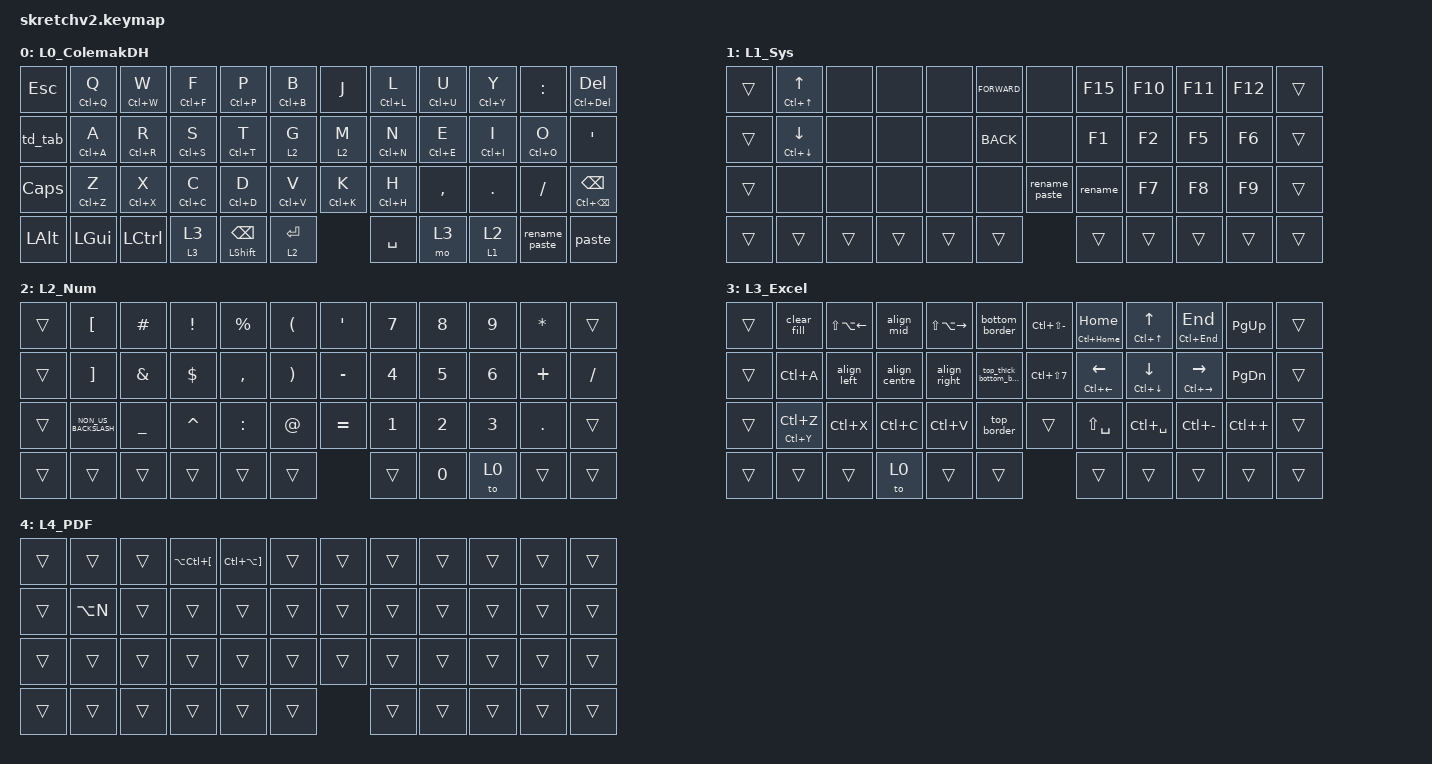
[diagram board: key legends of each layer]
#include <behaviors/mouse_key_press.dtsi>
#include <behaviors.dtsi>
#include <dt-bindings/zmk/bt.h>
#include <dt-bindings/zmk/keys.h>

/ {
    combos {
        compatible = "zmk,combos";

        BT_Clr {
            bindings = <&bt BT_CLR>;
            key-positions = <11 37>;
        };

        BT_0 {
            bindings = <&bt BT_SEL 0>;
            key-positions = <0 37>;
        };

        BT_1 {
            bindings = <&bt BT_SEL 1>;
            key-positions = <1 37>;
        };

        BT_2 {
            bindings = <&bt BT_SEL 2>;
            key-positions = <2 37>;
        };

        BT_3 {
            bindings = <&bt BT_SEL 3>;
            key-positions = <3 37>;
        };

        F_2 {
            bindings = <&kp F2>;
            key-positions = <2 40>;
        };

        Pivot_Refresh {
            bindings = <&kp LA(F5)>;
            key-positions = <40 3>;
        };

        F_4 {
            bindings = <&kp F4>;
            key-positions = <40 4>;
        };

        F_5 {
            bindings = <&kp F5>;
            key-positions = <42 7>;
        };

        Filter {
            bindings = <&kp LS(LC(L))>;
            key-positions = <42 8>;
        };

        Time {
            bindings = <&ht_kp LC(SEMI) LC(LS(SEMI))>;
            key-positions = <42 9>;
        };

        Downloads {
            bindings = <&kp LC(LA(D))>;
            key-positions = <1 39>;
            layers = <0 1 2>;
        };

        Pivot {
            bindings = <&pivot>;
            key-positions = <1 40>;
            layers = <3>;
        };

        Blanks {
            bindings = <&blanks>;
            key-positions = <5 40>;
            layers = <3>;
        };

        Paste {
            bindings = <&paste_values>;
            key-positions = <28 25>;
            layers = <3>;
        };

        Top {
            bindings = <&align_top>;
            key-positions = <17 25>;
            layers = <3>;
        };

        Bottom {
            bindings = <&align_bottom>;
            key-positions = <29 25>;
        };

        Format_Paint {
            bindings = <&none>;
            key-positions = <13 16>;
            layers = <3>;
        };
    };

    behaviors {
        ht_kp: ht_kp {
            compatible = "zmk,behavior-hold-tap";
            label = "ht_KP";
            bindings = <&kp>, <&kp>;

            #binding-cells = <2>;
            flavor = "tap-preferred";
            tapping-term-ms = <200>;
        };

        ht_l: ht_l {
            compatible = "zmk,behavior-hold-tap";
            label = "ht_L";
            bindings = <&mo>, <&to>;

            #binding-cells = <2>;
            tapping-term-ms = <250>;
        };

        ht_mo_kp: ht_mo_kp {
            compatible = "zmk,behavior-hold-tap";
            label = "HT_MO_KP";
            bindings = <&mo>, <&kp>;

            #binding-cells = <2>;
            flavor = "tap-preferred";
            tapping-term-ms = <250>;
        };

        td_win_ctrl: td_win_ctrl {
            compatible = "zmk,behavior-tap-dance";
            label = "TD_WIN_CTRL";
            #binding-cells = <0>;
            bindings = <&ht_kp LCTRL LEFT_GUI>, <&kp LC(LEFT_GUI)>;
        };

        td_tab: td_tab {
            compatible = "zmk,behavior-tap-dance";
            label = "TD_TAB";
            #binding-cells = <0>;
            bindings = <&kp TAB>, <&kp LC(TAB)>;
        };
    };

    macros {
        paste_values: paste_values {
            compatible = "zmk,behavior-macro";
            label = "PASTE_VALUES";
            #binding-cells = <0>;
            bindings = <&kp LC(LA(V)) &kp V &kp ENTER>;
        };

        align_left: align_left {
            compatible = "zmk,behavior-macro";
            label = "ALIGN_LEFT";
            #binding-cells = <0>;
            bindings = <&kp LEFT_ALT &kp H &kp A &kp L>;
        };

        align_centre: align_centre {
            compatible = "zmk,behavior-macro";
            label = "ALIGN_CENTRE";
            #binding-cells = <0>;
            bindings = <&kp LEFT_ALT &kp H &kp A &kp C>;
        };

        align_right: align_right {
            compatible = "zmk,behavior-macro";
            label = "ALIGN_RIGHT";
            #binding-cells = <0>;
            bindings = <&kp LEFT_ALT &kp H &kp A &kp R>;
        };

        align_top: align_top {
            compatible = "zmk,behavior-macro";
            label = "ALIGN_TOP";
            #binding-cells = <0>;
            bindings = <&kp LEFT_ALT &kp H &kp A &kp T>;
        };

        align_mid: align_mid {
            compatible = "zmk,behavior-macro";
            label = "ALIGN_MID";
            #binding-cells = <0>;
            bindings = <&kp LEFT_ALT &kp H &kp A &kp M>;
        };

        align_bottom: align_bottom {
            compatible = "zmk,behavior-macro";
            label = "ALIGN_BOTTOM";
            #binding-cells = <0>;
            bindings = <&kp LEFT_ALT &kp H &kp A &kp B>;
        };

        top_border: top_border {
            compatible = "zmk,behavior-macro";
            label = "TOP_BORDER";
            #binding-cells = <0>;
            bindings = <&kp LEFT_ALT &kp H &kp B &kp P>;
        };

        bottom_border: bottom_border {
            compatible = "zmk,behavior-macro";
            label = "BOTTOM_BORDER";
            #binding-cells = <0>;
            bindings = <&kp LEFT_ALT &kp H &kp B &kp O>;
        };

        top_thick_bottom_border: top_thick_bottom_border {
            compatible = "zmk,behavior-macro";
            label = "TOP_THICK_BOTTOM_BORDER";
            #binding-cells = <0>;
            bindings = <&kp LEFT_ALT &kp H &kp B &kp C>;
        };

        pivot: pivot {
            compatible = "zmk,behavior-macro";
            label = "PIVOT";
            #binding-cells = <0>;
            bindings = <&kp LEFT_ALT &kp N &kp V>;
        };

        blanks: blanks {
            compatible = "zmk,behavior-macro";
            label = "BLANKS";
            #binding-cells = <0>;
            bindings = <&kp F5 &kp LEFT_ALT &kp S &kp K &kp ENTER>;
        };

        clear_fill: clear_fill {
            compatible = "zmk,behavior-macro";
            label = "CLEAR_FILL";
            #binding-cells = <0>;
            bindings = <&kp LEFT_ALT &kp H &kp H &kp N>;
        };

        rename: rename {
            compatible = "zmk,behavior-macro";
            #binding-cells = <0>;
            bindings = <&kp ENTER &kp LC(C) &kp ENTER &kp RIGHT &kp LC(A) &kp F15 &kp LA(LC(C)) &none &kp LC(V) &kp ENTER>;
            label = "RENAME";
        };

        rename_paste: rename_paste {
            compatible = "zmk,behavior-macro";
            #binding-cells = <0>;
            bindings = <&kp F15 &kp LA(LC(C))>;
            label = "RENAME_PASTE";
        };

        paste: paste {
            compatible = "zmk,behavior-macro";
            #binding-cells = <0>;
            bindings = <&kp LC(V) &kp ENTER &kp LEFT &kp DOWN &kp ENTER &kp LC(C) &kp ENTER &kp RIGHT &kp LC(A)>;
            label = "PASTE";
        };
    };

    keymap {
        compatible = "zmk,keymap";

        L0_ColemakDH {
            bindings = <
&kp ESC       &ht_kp LC(Q) Q  &ht_kp LC(W) W  &ht_kp LC(F) F  &ht_kp LC(P) P               &ht_kp LC(B) B     &kp J           &ht_kp LC(L) L  &ht_kp LC(U) U  &ht_kp LC(Y) Y  &kp COLON       &ht_kp LC(DEL) DEL
&td_tab       &ht_kp LC(A) A  &ht_kp LC(R) R  &ht_kp LC(S) S  &ht_kp LC(T) T               &ht_mo_kp 2 G      &ht_mo_kp 2 M   &ht_kp LC(N) N  &ht_kp LC(E) E  &ht_kp LC(I) I  &ht_kp LC(O) O  &kp SQT
&kp CAPSLOCK  &ht_kp LC(Z) Z  &ht_kp LC(X) X  &ht_kp LC(C) C  &ht_kp LC(D) D               &ht_kp LC(V) V     &ht_kp LC(K) K  &ht_kp LC(H) H  &kp COMMA       &kp DOT         &kp SLASH       &ht_kp LC(BACKSPACE) BACKSPACE
&kp LEFT_ALT  &kp LEFT_GUI    &kp LCTRL       &ht_l 3 3       &ht_kp LEFT_SHIFT BACKSPACE  &ht_mo_kp 2 ENTER                  &kp SPACE       &mo 3           &ht_l 1 2       &rename_paste   &paste
            >;
        };

        L1_Sys {
            bindings = <
&trans  &ht_kp LC(UP) UP      &none   &none   &none   &kp K_FORWARD  &none          &kp F15  &kp F10  &kp F11  &kp F12  &trans
&trans  &ht_kp LC(DOWN) DOWN  &none   &none   &none   &kp K_BACK     &none          &kp F1   &kp F2   &kp F5   &kp F6   &trans
&trans  &none                 &none   &none   &none   &none          &rename_paste  &rename  &kp F7   &kp F8   &kp F9   &trans
&trans  &trans                &trans  &trans  &trans  &trans                        &trans   &trans   &trans   &trans   &trans
            >;
        };

        L2_Num {
            bindings = <
&trans  &kp LEFT_BRACKET      &kp HASH        &kp EXCLAMATION  &kp PERCENT  &kp LEFT_PARENTHESIS   &kp SQT    &kp N7  &kp N8        &kp N9  &kp ASTERISK  &trans
&trans  &kp RIGHT_BRACKET     &kp AMPERSAND   &kp DOLLAR       &kp COMMA    &kp RIGHT_PARENTHESIS  &kp MINUS  &kp N4  &kp N5        &kp N6  &kp PLUS      &kp SLASH
&trans  &kp NON_US_BACKSLASH  &kp UNDERSCORE  &kp CARET        &kp COLON    &kp AT                 &kp EQUAL  &kp N1  &kp N2        &kp N3  &kp PERIOD    &trans
&trans  &trans                &trans          &trans           &trans       &trans                            &trans  &kp NUMBER_0  &to 0   &trans        &trans
            >;
        };

        L3_Excel {
            bindings = <
&trans  &clear_fill         &kp LS(LA(LEFT))  &align_mid     &kp LS(LA(RIGHT))  &bottom_border            &kp LC(LS(MINUS))  &ht_kp LC(HOME) HOME  &ht_kp LC(UP) UP_ARROW  &ht_kp LC(END) END      &kp PAGE_UP    &trans
&trans  &kp LC(A)           &align_left       &align_centre  &align_right       &top_thick_bottom_border  &kp LC(LS(N7))     &ht_kp LC(LEFT) LEFT  &ht_kp LC(DOWN) DOWN    &ht_kp LC(RIGHT) RIGHT  &kp PAGE_DOWN  &trans
&trans  &ht_kp LC(Y) LC(Z)  &kp LC(X)         &kp LC(C)      &kp LC(V)          &top_border               &trans             &kp LS(SPACE)         &kp LC(SPACE)           &kp LC(MINUS)           &kp LC(PLUS)   &trans
&trans  &trans              &trans            &to 0          &trans             &trans                                       &trans                &trans                  &trans                  &trans         &trans
            >;
        };

        L4_PDF {
            bindings = <
&trans  &trans     &trans  &kp LA(LC(LBKT))  &kp LC(LA(RBKT))  &trans  &trans  &trans  &trans  &trans  &trans  &trans
&trans  &kp LA(N)  &trans  &trans            &trans            &trans  &trans  &trans  &trans  &trans  &trans  &trans
&trans  &trans     &trans  &trans            &trans            &trans  &trans  &trans  &trans  &trans  &trans  &trans
&trans  &trans     &trans  &trans            &trans            &trans          &trans  &trans  &trans  &trans  &trans
            >;
        };
    };
};
